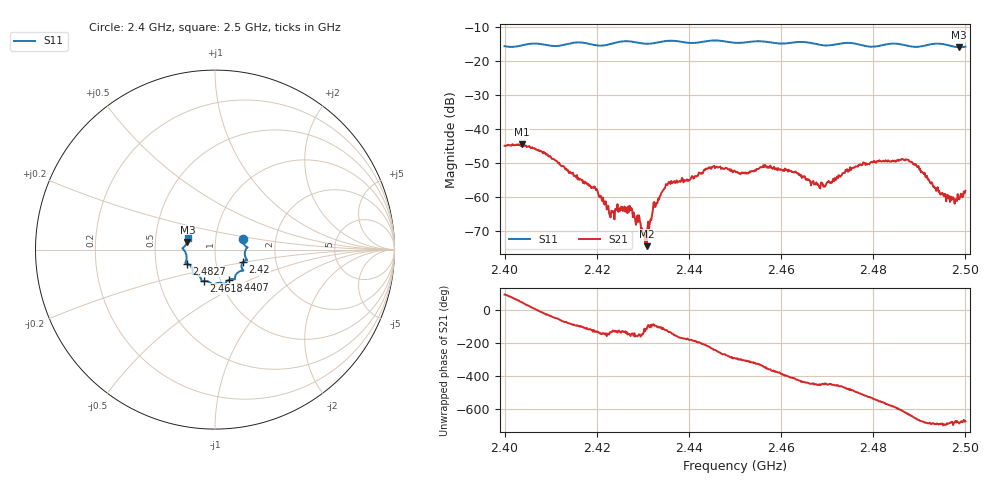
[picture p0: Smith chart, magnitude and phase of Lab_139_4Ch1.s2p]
# Hz S RI R 50
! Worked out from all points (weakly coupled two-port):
!   601 points, 2.4 GHz to 2.5 GHz, reference 50 ohm
!   highest |S21| = -44.38 dB at 2.4037 GHz (marker M1); lowest = -74.4 dB at 2.4308 GHz (marker M2)
!   lowest |S11| = -15.9 dB at 2.4987 GHz (marker M3), VSWR 1.38, Z = 36.5 + j3.23 ohm
!   |S11| at or under -10 dB: start of sweep to end of sweep
!   S12 and S22 are empty: the file has one direction only
!   S11 on the Smith chart (normalised r, x): 2.4 GHz: 1.35, +0.17; 2.42 GHz: 1.35, -0.19; 2.4407 GHz: 1.10, -0.38; 2.4618 GHz: 0.83, -0.30; 2.4827 GHz: 0.72, -0.12; 2.5 GHz: 0.73, +0.10
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2.4e9  0.1545 0.0615  -0.000608 0.00566  0 0  0 0
2.403667e9  0.1693 0.0199  0.00388 0.00462  0 0  0 0
2.416667e9  0.1788 -0.0588  -0.000305 -0.00176  0 0  0 0
2.42e9  0.1562 -0.0689  -0.000878 -0.00097  0 0  0 0
2.422667e9  0.1479 -0.0961  -0.000488 -0.000326  0 0  0 0
2.427167e9  0.1567 -0.1172  -0.000632 -0.000393  0 0  0 0
2.430833e9  0.1257 -0.1295  -7.42e-05 -0.000175  0 0  0 0
2.433333e9  0.1117 -0.153  -0.000144 -0.000941  0 0  0 0
2.4355e9  0.1115 -0.1654  -0.000993 -0.00126  0 0  0 0
2.440667e9  0.0792 -0.1676  -0.00204 2.26e-05  0 0  0 0
2.445e9  0.0538 -0.1938  -0.00174 0.00215  0 0  0 0
2.45e9  0.027 -0.1847  0.000831 0.00225  0 0  0 0
2.461833e9  -0.0617 -0.1748  0.00172 -0.0017  0 0  0 0
2.466667e9  -0.0757 -0.1681  0.000129 -0.00163  0 0  0 0
2.469667e9  -0.0922 -0.1432  0.000139 -0.00148  0 0  0 0
2.477333e9  -0.1239 -0.1211  -0.0025 -0.00166  0 0  0 0
2.482667e9  -0.1581 -0.0779  -0.00308 0.00162  0 0  0 0
2.483333e9  -0.1621 -0.0768  -0.00291 0.00185  0 0  0 0
2.487833e9  -0.1583 -0.0512  0.000136 0.00334  0 0  0 0
2.494833e9  -0.1793 0.0096  0.00098 0.000579  0 0  0 0
2.498667e9  -0.1542 0.0431  0.000772 0.000514  0 0  0 0
2.5e9  -0.1509 0.0632  0.000837 0.000908  0 0  0 0
